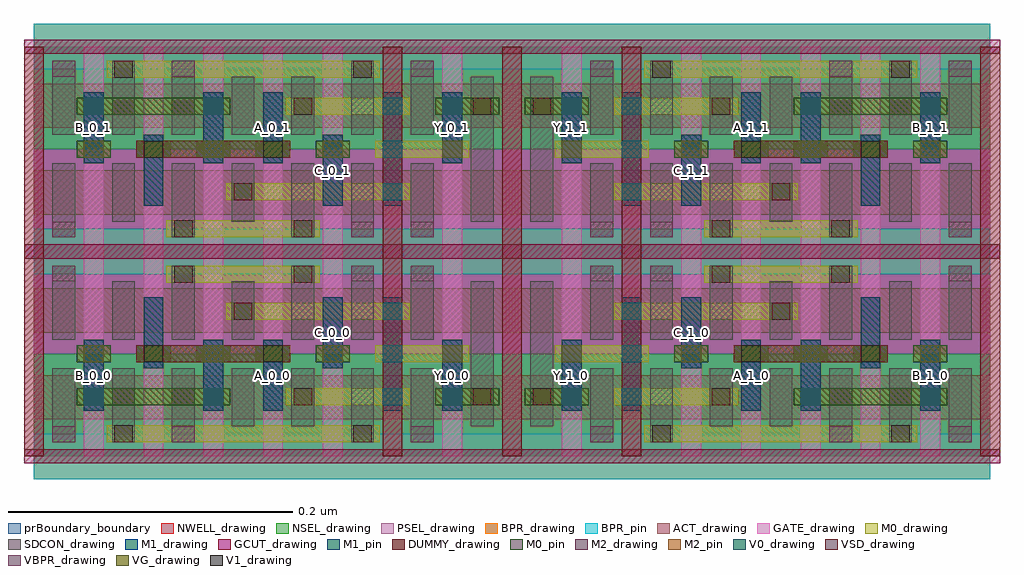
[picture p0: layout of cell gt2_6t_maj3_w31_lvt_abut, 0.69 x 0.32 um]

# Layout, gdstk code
from math import pi, radians
import gdstk
lib = gdstk.Library(unit=1e-6, precision=5e-10)
def R(c, l, rs):  # rectangles x0, y0, x1, y1
    for r in rs: c.add(gdstk.rectangle(r[:2], r[2:], *l))
def A(c, l, x, y, w, h, nx, ny, dx, dy):  # array of equal rectangles
    R(c, l, [(x+i*dx, y+j*dy, x+i*dx+w, y+j*dy+h) for i in range(nx) for j in range(ny)])
NWELL_drawing = (1, 0)
ACT_drawing = (2, 0)
GATE_drawing = (3, 0)
DUMMY_drawing = (4, 0)
GCUT_drawing = (5, 0)
NSEL_drawing = (6, 0)
PSEL_drawing = (7, 0)
BPR_drawing = (8, 0)
BPR_pin = (8, 251)
VBPR_drawing = (9, 0)
SDCON_drawing = (10, 0)
VSD_drawing = (11, 0)
VG_drawing = (12, 0)
M0_drawing = (20, 0)
M0_pin = (20, 251)
V0_drawing = (22, 0)
M1_drawing = (25, 0)
M1_pin = (25, 251)
V1_drawing = (27, 0)
M2_drawing = (30, 0)
M2_pin = (30, 251)
prBoundary_boundary = (235, 250)

gt2_6t_maj3_w31_lvt = lib.new_cell('gt2_6t_maj3_w31_lvt')
R(gt2_6t_maj3_w31_lvt, NWELL_drawing, [(0,0.072,0.336,0.144)])
R(gt2_6t_maj3_w31_lvt, ACT_drawing, [(0,0.026,0.336,0.057), (0,0.087,0.336,0.118)])
A(gt2_6t_maj3_w31_lvt, GATE_drawing, -0.007, 0, 0.014, 0.144, 9, 1, 0.042, 0)
R(gt2_6t_maj3_w31_lvt, DUMMY_drawing, [(-0.007,0,0.007,0.072), (0.245,0,0.259,0.072), (0.329,0,0.343,0.072), (-0.007,0.072,0.007,0.144), (0.245,0.072,0.259,0.144), (0.329,0.072,0.343,0.144)])
R(gt2_6t_maj3_w31_lvt, GCUT_drawing, [(-0.007,-0.005,0.343,0.005), (-0.007,0.139,0.343,0.149)])
R(gt2_6t_maj3_w31_lvt, NSEL_drawing, [(0,0,0.336,0.072)])
R(gt2_6t_maj3_w31_lvt, PSEL_drawing, [(0,0.072,0.336,0.144)])
R(gt2_6t_maj3_w31_lvt, BPR_drawing, [(0,-0.016,0.336,0.016), (0,0.128,0.336,0.16)])
R(gt2_6t_maj3_w31_lvt, BPR_pin, [(0,-0.016,0.336,0.016), (0,0.128,0.336,0.16)])
R(gt2_6t_maj3_w31_lvt, VBPR_drawing, [(0.013,0.01,0.029,0.021), (0.097,0.01,0.113,0.021), (0.265,0.01,0.281,0.021), (0.013,0.123,0.029,0.134), (0.223,0.123,0.239,0.134), (0.265,0.123,0.281,0.134)])
A(gt2_6t_maj3_w31_lvt, SDCON_drawing, 0.013, 0.01, 0.016, 0.052, 3, 1, 0.042, 0)
A(gt2_6t_maj3_w31_lvt, SDCON_drawing, 0.013, 0.082, 0.016, 0.052, 3, 1, 0.084, 0)
R(gt2_6t_maj3_w31_lvt, SDCON_drawing, [(0.223,0.01,0.239,0.062), (0.265,0.01,0.281,0.062), (0.139,0.021,0.155,0.062), (0.181,0.021,0.197,0.062), (0.307,0.021,0.323,0.123), (0.055,0.082,0.071,0.123), (0.139,0.082,0.155,0.123), (0.223,0.082,0.239,0.134), (0.265,0.082,0.281,0.134)])
R(gt2_6t_maj3_w31_lvt, VSD_drawing, [(0.0565,0.01,0.0695,0.022), (0.2245,0.01,0.2375,0.022), (0.1825,0.036,0.1955,0.048), (0.3085,0.036,0.3215,0.048), (0.1405,0.096,0.1535,0.108), (0.0985,0.122,0.1115,0.134), (0.1825,0.122,0.1955,0.134)])
A(gt2_6t_maj3_w31_lvt, VG_drawing, 0.035, 0.066, 0.014, 0.012, 5, 1, 0.042, 0)
R(gt2_6t_maj3_w31_lvt, VG_drawing, [(0.287,0.066,0.301,0.078)])
A(gt2_6t_maj3_w31_lvt, M0_drawing, 0.114, 0.036, 0.024, 0.012, 3, 1, 0.063, 0)
A(gt2_6t_maj3_w31_lvt, M0_drawing, 0.198, 0.066, 0.024, 0.012, 3, 1, 0.042, 0)
R(gt2_6t_maj3_w31_lvt, M0_drawing, [(0.051,0.01,0.075,0.022), (0.051,0.01,0.243,0.022), (0.219,0.01,0.243,0.022), (0.03,0.036,0.054,0.048), (0.03,0.036,0.138,0.048), (0.177,0.036,0.264,0.048), (0.282,0.036,0.306,0.048), (0.282,0.036,0.327,0.048), (0.303,0.036,0.327,0.048), (0.03,0.066,0.054,0.078), (0.03,0.066,0.054,0.078), (0.072,0.066,0.096,0.078), (0.072,0.066,0.096,0.078), (0.114,0.066,0.138,0.078), (0.114,0.066,0.138,0.078), (0.156,0.066,0.18,0.078), (0.156,0.066,0.18,0.078), (0.198,0.066,0.222,0.078), (0.24,0.066,0.306,0.078), (0.135,0.096,0.159,0.108), (0.135,0.096,0.264,0.108), (0.24,0.096,0.264,0.108), (0.093,0.122,0.117,0.134), (0.093,0.122,0.201,0.134), (0.177,0.122,0.201,0.134)])
R(gt2_6t_maj3_w31_lvt, M0_pin, [(0.03,0.036,0.054,0.048), (0.03,0.036,0.138,0.048), (0.114,0.036,0.138,0.048), (0.282,0.036,0.306,0.048), (0.282,0.036,0.327,0.048), (0.303,0.036,0.327,0.048), (0.03,0.066,0.054,0.078), (0.03,0.066,0.054,0.078), (0.072,0.066,0.096,0.078), (0.072,0.066,0.096,0.078), (0.114,0.066,0.138,0.078), (0.114,0.066,0.138,0.078), (0.156,0.066,0.18,0.078), (0.156,0.066,0.18,0.078), (0.198,0.066,0.222,0.078), (0.198,0.066,0.222,0.078)])
A(gt2_6t_maj3_w31_lvt, V0_drawing, 0.035, 0.066, 0.014, 0.012, 6, 1, 0.042, 0)
R(gt2_6t_maj3_w31_lvt, V0_drawing, [(0.035,0.036,0.049,0.048), (0.119,0.036,0.133,0.048), (0.245,0.036,0.259,0.048), (0.287,0.036,0.301,0.048), (0.245,0.096,0.259,0.108)])
A(gt2_6t_maj3_w31_lvt, M1_drawing, 0.077, 0.062, 0.014, 0.02, 3, 1, 0.042, 0)
A(gt2_6t_maj3_w31_lvt, M1_drawing, 0.161, 0.062, 0.014, 0.02, 3, 1, 0.042, 0)
R(gt2_6t_maj3_w31_lvt, M1_drawing, [(0.035,0.032,0.049,0.052), (0.035,0.032,0.049,0.082), (0.119,0.032,0.133,0.052), (0.119,0.032,0.133,0.082), (0.161,0.032,0.175,0.082), (0.245,0.032,0.259,0.052), (0.245,0.032,0.259,0.112), (0.287,0.032,0.301,0.052), (0.287,0.032,0.301,0.082), (0.035,0.062,0.049,0.082), (0.077,0.062,0.091,0.082), (0.077,0.062,0.091,0.112), (0.203,0.062,0.217,0.112), (0.245,0.092,0.259,0.112)])
A(gt2_6t_maj3_w31_lvt, M1_pin, 0.077, 0.062, 0.014, 0.02, 3, 1, 0.042, 0)
R(gt2_6t_maj3_w31_lvt, M1_pin, [(0.035,0.032,0.049,0.052), (0.035,0.032,0.049,0.082), (0.119,0.032,0.133,0.052), (0.119,0.032,0.133,0.082), (0.161,0.032,0.175,0.082), (0.287,0.032,0.301,0.052), (0.287,0.032,0.301,0.082), (0.035,0.062,0.049,0.082), (0.077,0.062,0.091,0.082), (0.077,0.062,0.091,0.112), (0.161,0.062,0.175,0.082), (0.203,0.062,0.217,0.082), (0.203,0.062,0.217,0.112)])
R(gt2_6t_maj3_w31_lvt, V1_drawing, [(0.077,0.066,0.091,0.078), (0.161,0.066,0.175,0.078)])
R(gt2_6t_maj3_w31_lvt, M2_drawing, [(0.072,0.066,0.096,0.078), (0.072,0.066,0.18,0.078), (0.156,0.066,0.18,0.078)])
R(gt2_6t_maj3_w31_lvt, M2_pin, [(0.072,0.066,0.096,0.078), (0.072,0.066,0.18,0.078), (0.156,0.066,0.18,0.078)])
R(gt2_6t_maj3_w31_lvt, prBoundary_boundary, [(0,0,0.336,0.144)])
gt2_6t_maj3_w31_lvt.add(gdstk.Label('vss', (0.168,0), layer=8, texttype=251))
gt2_6t_maj3_w31_lvt.add(gdstk.Label('vdd', (0.168,0.144), layer=8, texttype=251))
gt2_6t_maj3_w31_lvt.add(gdstk.Label('Y', (0.315,0.042), layer=20, texttype=251))
gt2_6t_maj3_w31_lvt.add(gdstk.Label('B', (0.042,0.072), layer=20, texttype=251))
gt2_6t_maj3_w31_lvt.add(gdstk.Label('A', (0.084,0.072), layer=20, texttype=251))
gt2_6t_maj3_w31_lvt.add(gdstk.Label('B', (0.126,0.072), layer=20, texttype=251))
gt2_6t_maj3_w31_lvt.add(gdstk.Label('A', (0.168,0.072), layer=20, texttype=251))
gt2_6t_maj3_w31_lvt.add(gdstk.Label('C', (0.21,0.072), layer=20, texttype=251))
gt2_6t_maj3_w31_lvt.add(gdstk.Label('B', (0.084,0.042), layer=20, texttype=251))
gt2_6t_maj3_w31_lvt.add(gdstk.Label('B', (0.042,0.042), layer=20, texttype=251))
gt2_6t_maj3_w31_lvt.add(gdstk.Label('B', (0.126,0.042), layer=20, texttype=251))
gt2_6t_maj3_w31_lvt.add(gdstk.Label('Y', (0.3045,0.042), layer=20, texttype=251))
gt2_6t_maj3_w31_lvt.add(gdstk.Label('Y', (0.294,0.042), layer=20, texttype=251))
gt2_6t_maj3_w31_lvt.add(gdstk.Label('B', (0.042,0.072), layer=20, texttype=251))
gt2_6t_maj3_w31_lvt.add(gdstk.Label('A', (0.084,0.072), layer=20, texttype=251))
gt2_6t_maj3_w31_lvt.add(gdstk.Label('B', (0.126,0.072), layer=20, texttype=251))
gt2_6t_maj3_w31_lvt.add(gdstk.Label('A', (0.168,0.072), layer=20, texttype=251))
gt2_6t_maj3_w31_lvt.add(gdstk.Label('C', (0.21,0.072), layer=20, texttype=251))
gt2_6t_maj3_w31_lvt.add(gdstk.Label('B', (0.042,0.042), layer=25, texttype=251))
gt2_6t_maj3_w31_lvt.add(gdstk.Label('B', (0.126,0.042), layer=25, texttype=251))
gt2_6t_maj3_w31_lvt.add(gdstk.Label('Y', (0.294,0.042), layer=25, texttype=251))
gt2_6t_maj3_w31_lvt.add(gdstk.Label('B', (0.042,0.072), layer=25, texttype=251))
gt2_6t_maj3_w31_lvt.add(gdstk.Label('A', (0.084,0.072), layer=25, texttype=251))
gt2_6t_maj3_w31_lvt.add(gdstk.Label('B', (0.126,0.072), layer=25, texttype=251))
gt2_6t_maj3_w31_lvt.add(gdstk.Label('A', (0.168,0.072), layer=25, texttype=251))
gt2_6t_maj3_w31_lvt.add(gdstk.Label('C', (0.21,0.072), layer=25, texttype=251))
gt2_6t_maj3_w31_lvt.add(gdstk.Label('B', (0.042,0.057), layer=25, texttype=251))
gt2_6t_maj3_w31_lvt.add(gdstk.Label('B', (0.126,0.057), layer=25, texttype=251))
gt2_6t_maj3_w31_lvt.add(gdstk.Label('A', (0.168,0.057), layer=25, texttype=251))
gt2_6t_maj3_w31_lvt.add(gdstk.Label('Y', (0.294,0.057), layer=25, texttype=251))
gt2_6t_maj3_w31_lvt.add(gdstk.Label('A', (0.084,0.087), layer=25, texttype=251))
gt2_6t_maj3_w31_lvt.add(gdstk.Label('A', (0.084,0.072), layer=25, texttype=251))
gt2_6t_maj3_w31_lvt.add(gdstk.Label('A', (0.168,0.072), layer=25, texttype=251))
gt2_6t_maj3_w31_lvt.add(gdstk.Label('C', (0.21,0.087), layer=25, texttype=251))
gt2_6t_maj3_w31_lvt.add(gdstk.Label('A', (0.084,0.072), layer=30, texttype=251))
gt2_6t_maj3_w31_lvt.add(gdstk.Label('A', (0.168,0.072), layer=30, texttype=251))
gt2_6t_maj3_w31_lvt.add(gdstk.Label('A', (0.126,0.072), layer=30, texttype=251))

gt2_6t_maj3_w31_lvt_abut = lib.new_cell('gt2_6t_maj3_w31_lvt_abut')
gt2_6t_maj3_w31_lvt_abut.add(gdstk.Reference(gt2_6t_maj3_w31_lvt, (0,0)))
gt2_6t_maj3_w31_lvt_abut.add(gdstk.Reference(gt2_6t_maj3_w31_lvt, (0.672,0), rotation=pi, x_reflection=True))
gt2_6t_maj3_w31_lvt_abut.add(gdstk.Reference(gt2_6t_maj3_w31_lvt, (0,0.288), x_reflection=True))
gt2_6t_maj3_w31_lvt_abut.add(gdstk.Reference(gt2_6t_maj3_w31_lvt, (0.672,0.288), rotation=pi))
gt2_6t_maj3_w31_lvt_abut.add(gdstk.Label('A_0_0', (0.168,0.057), layer=25, texttype=251))
gt2_6t_maj3_w31_lvt_abut.add(gdstk.Label('B_0_0', (0.042,0.057), layer=25, texttype=251))
gt2_6t_maj3_w31_lvt_abut.add(gdstk.Label('C_0_0', (0.21,0.087), layer=25, texttype=251))
gt2_6t_maj3_w31_lvt_abut.add(gdstk.Label('Y_0_0', (0.294,0.057), layer=25, texttype=251))
gt2_6t_maj3_w31_lvt_abut.add(gdstk.Label('A_1_0', (0.504,0.057), layer=25, texttype=251))
gt2_6t_maj3_w31_lvt_abut.add(gdstk.Label('B_1_0', (0.63,0.057), layer=25, texttype=251))
gt2_6t_maj3_w31_lvt_abut.add(gdstk.Label('C_1_0', (0.462,0.087), layer=25, texttype=251))
gt2_6t_maj3_w31_lvt_abut.add(gdstk.Label('Y_1_0', (0.378,0.057), layer=25, texttype=251))
gt2_6t_maj3_w31_lvt_abut.add(gdstk.Label('A_0_1', (0.168,0.231), layer=25, texttype=251))
gt2_6t_maj3_w31_lvt_abut.add(gdstk.Label('B_0_1', (0.042,0.231), layer=25, texttype=251))
gt2_6t_maj3_w31_lvt_abut.add(gdstk.Label('C_0_1', (0.21,0.201), layer=25, texttype=251))
gt2_6t_maj3_w31_lvt_abut.add(gdstk.Label('Y_0_1', (0.294,0.231), layer=25, texttype=251))
gt2_6t_maj3_w31_lvt_abut.add(gdstk.Label('A_1_1', (0.504,0.231), layer=25, texttype=251))
gt2_6t_maj3_w31_lvt_abut.add(gdstk.Label('B_1_1', (0.63,0.231), layer=25, texttype=251))
gt2_6t_maj3_w31_lvt_abut.add(gdstk.Label('C_1_1', (0.462,0.201), layer=25, texttype=251))
gt2_6t_maj3_w31_lvt_abut.add(gdstk.Label('Y_1_1', (0.378,0.231), layer=25, texttype=251))

lib.write_gds('gt2_6t_maj3_w31_lvt_abut.gds')
